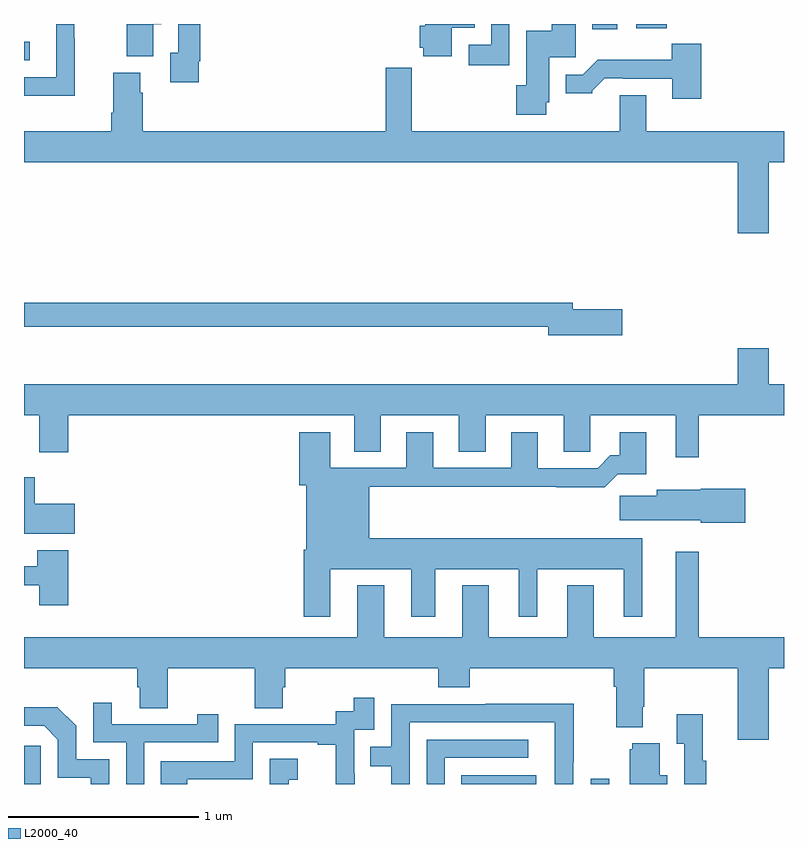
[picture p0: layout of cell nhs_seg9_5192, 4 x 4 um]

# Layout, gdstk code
import gdstk
lib = gdstk.Library(unit=1e-6, precision=1e-09)
def R(c, l, rs):  # rectangles x0, y0, x1, y1
    for r in rs: c.add(gdstk.rectangle(r[:2], r[2:], *l))
def P(c, l, *ps):  # polygons
    for p in ps: c.add(gdstk.Polygon(p, *l))
L2000_40 = (2000, 40)

nhs_seg9_5192 = lib.new_cell('nhs_seg9_5192')
R(nhs_seg9_5192, L2000_40, [(413,1174.5,413.088,1174.702), (415.3,1174.5,415.696,1174.546), (415.983,1174.5,416.079,1174.528), (413,1178.31,413.029,1178.406), (415.991,1178.472,416.122,1178.5), (416.222,1178.477,416.384,1178.5), (413,1178.498,413.08,1178.5)])
P(nhs_seg9_5192, L2000_40, [(415.554,1178.5),(415.458,1178.5),(415.458,1178.391),(415.341,1178.391),(415.341,1178.283),(415.554,1178.283)],
  [(415.749,1178.088),(415.765,1178.088),(415.765,1178.325),(415.903,1178.325),(415.903,1178.5),(415.778,1178.5),(415.778,1178.464),(415.643,1178.464),(415.643,1178.178),(415.592,1178.178),(415.592,1178.022),(415.749,1178.022)],
  [(413.92,1178.305),(413.927,1178.305),(413.927,1178.5),(413.811,1178.5),(413.811,1178.349),(413.771,1178.349),(413.771,1178.193),(413.92,1178.193)],
  [(413.267,1178.426),(413.265,1178.426),(413.265,1178.5),(413.169,1178.5),(413.169,1178.22),(413,1178.22),(413,1178.123),(413.267,1178.123)],
  [(413.68,1178.498),(413.722,1178.498),(413.722,1178.5),(413.54,1178.5),(413.54,1178.329),(413.68,1178.329)],
  [(415.252,1178.48),(415.373,1178.48),(415.373,1178.5),(415.112,1178.5),(415.112,1178.49),(415.082,1178.49),(415.082,1178.376),(415.1,1178.376),(415.1,1178.33),(415.252,1178.33)],
  [(416.564,1178.395),(416.409,1178.395),(416.409,1178.311),(416.02,1178.311),(415.941,1178.232),(415.85,1178.232),(415.85,1178.135),(415.992,1178.135),(415.992,1178.15),(416.056,1178.214),(416.155,1178.214),(416.155,1178.211),(416.411,1178.211),(416.411,1178.106),(416.564,1178.106)],
  [(416.92,1177.772),(417,1177.772),(417,1177.936),(416.275,1177.936),(416.275,1178.126),(416.135,1178.126),(416.135,1177.936),(415.04,1177.936),(415.04,1178.269),(414.904,1178.269),(414.904,1177.936),(413.624,1177.936),(413.624,1178.138),(413.611,1178.138),(413.611,1178.244),(413.471,1178.244),(413.471,1178.032),(413.459,1178.032),(413.459,1177.936),(413,1177.936),(413,1177.772),(416.756,1177.772),(416.756,1177.398),(416.92,1177.398)],
  [(416.149,1176.998),(415.888,1176.998),(415.888,1177.034),(413,1177.034),(413,1176.906),(415.76,1176.906),(415.76,1176.863),(416.149,1176.863)],
  [(416.551,1176.44),(417,1176.44),(417,1176.604),(416.92,1176.604),(416.92,1176.793),(416.756,1176.793),(416.756,1176.604),(413,1176.604),(413,1176.44),(413.081,1176.44),(413.081,1176.246),(413.234,1176.246),(413.234,1176.44),(414.737,1176.44),(414.737,1176.25),(414.877,1176.25),(414.877,1176.44),(415.289,1176.44),(415.289,1176.25),(415.429,1176.25),(415.429,1176.44),(415.841,1176.44),(415.841,1176.25),(415.98,1176.25),(415.98,1176.44),(416.429,1176.44),(416.429,1176.219),(416.551,1176.219)],
  [(414.613,1175.63),(415.037,1175.63),(415.037,1175.379),(415.165,1175.379),(415.165,1175.63),(415.604,1175.63),(415.604,1175.379),(415.702,1175.379),(415.702,1175.63),(416.156,1175.63),(416.156,1175.379),(416.254,1175.379),(416.254,1175.794),(414.817,1175.794),(414.817,1176.064),(415.801,1176.064),(415.801,1176.062),(416.057,1176.062),(416.126,1176.131),(416.275,1176.131),(416.275,1176.352),(416.135,1176.352),(416.135,1176.229),(416.086,1176.229),(416.019,1176.162),(415.705,1176.162),(415.705,1176.352),(415.565,1176.352),(415.565,1176.165),(415.153,1176.165),(415.153,1176.352),(415.013,1176.352),(415.013,1176.165),(414.613,1176.165),(414.613,1176.352),(414.449,1176.352),(414.449,1176.072),(414.485,1176.072),(414.485,1175.734),(414.473,1175.734),(414.473,1175.379),(414.613,1175.379)],
  [(413.266,1175.974),(413.056,1175.974),(413.056,1176.115),(413,1176.115),(413,1175.816),(413.266,1175.816)],
  [(416.797,1176.054),(416.562,1176.054),(416.562,1176.049),(416.33,1176.049),(416.33,1176.017),(416.136,1176.017),(416.136,1175.888),(416.562,1175.888),(416.562,1175.876),(416.797,1175.876)],
  [(413.234,1175.731),(413.069,1175.731),(413.069,1175.647),(413,1175.647),(413,1175.547),(413.081,1175.547),(413.081,1175.442),(413.234,1175.442)],
  [(416.92,1175.108),(417,1175.108),(417,1175.272),(416.551,1175.272),(416.551,1175.722),(416.429,1175.722),(416.429,1175.272),(415.999,1175.272),(415.999,1175.545),(415.859,1175.545),(415.859,1175.272),(415.447,1175.272),(415.447,1175.545),(415.307,1175.545),(415.307,1175.272),(414.895,1175.272),(414.895,1175.545),(414.755,1175.545),(414.755,1175.272),(413,1175.272),(413,1175.108),(413.597,1175.108),(413.597,1175.01),(413.609,1175.01),(413.609,1174.9),(413.757,1174.9),(413.757,1175.108),(414.214,1175.108),(414.214,1174.9),(414.361,1174.9),(414.361,1175.01),(414.374,1175.01),(414.374,1175.108),(415.181,1175.108),(415.181,1175.009),(415.346,1175.009),(415.346,1175.108),(416.105,1175.108),(416.105,1175.012),(416.117,1175.012),(416.117,1174.799),(416.257,1174.799),(416.257,1174.906),(416.265,1174.906),(416.265,1175.108),(416.756,1175.108),(416.756,1174.734),(416.92,1174.734)],
  [(413.859,1174.524),(414.204,1174.524),(414.204,1174.719),(414.545,1174.719),(414.545,1174.707),(414.641,1174.707),(414.641,1174.5),(414.74,1174.5),(414.74,1174.556),(414.738,1174.556),(414.738,1174.785),(414.843,1174.785),(414.843,1174.954),(414.735,1174.954),(414.735,1174.884),(414.642,1174.884),(414.642,1174.815),(414.108,1174.815),(414.108,1174.62),(413.719,1174.62),(413.719,1174.5),(413.859,1174.5)],
  [(413.634,1174.719),(414.023,1174.719),(414.023,1174.867),(413.912,1174.867),(413.912,1174.815),(413.461,1174.815),(413.461,1174.927),(413.364,1174.927),(413.364,1174.719),(413.538,1174.719),(413.538,1174.5),(413.634,1174.5)],
  [(415.029,1174.824),(415.793,1174.824),(415.793,1174.609),(415.794,1174.609),(415.794,1174.5),(415.89,1174.5),(415.89,1174.615),(415.893,1174.615),(415.893,1174.922),(415.429,1174.922),(415.429,1174.92),(414.933,1174.92),(414.933,1174.695),(414.823,1174.695),(414.823,1174.594),(414.933,1174.594),(414.933,1174.5),(415.029,1174.5)],
  [(413.448,1174.629),(413.274,1174.629),(413.274,1174.806),(413.176,1174.904),(413,1174.904),(413,1174.806),(413.106,1174.806),(413.178,1174.734),(413.178,1174.533),(413.351,1174.533),(413.351,1174.5),(413.448,1174.5)],
  [(416.591,1174.622),(416.573,1174.622),(416.573,1174.867),(416.435,1174.867),(416.435,1174.711),(416.475,1174.711),(416.475,1174.5),(416.591,1174.5)],
  [(415.215,1174.638),(415.654,1174.638),(415.654,1174.734),(415.119,1174.734),(415.119,1174.5),(415.215,1174.5)],
  [(416.386,1174.546),(416.347,1174.546),(416.347,1174.714),(416.201,1174.714),(416.201,1174.683),(416.189,1174.683),(416.189,1174.5),(416.386,1174.5)],
  [(414.393,1174.523),(414.442,1174.523),(414.442,1174.633),(414.294,1174.633),(414.294,1174.5),(414.393,1174.5)])

lib.write_gds('nhs_seg9_5192.gds')
